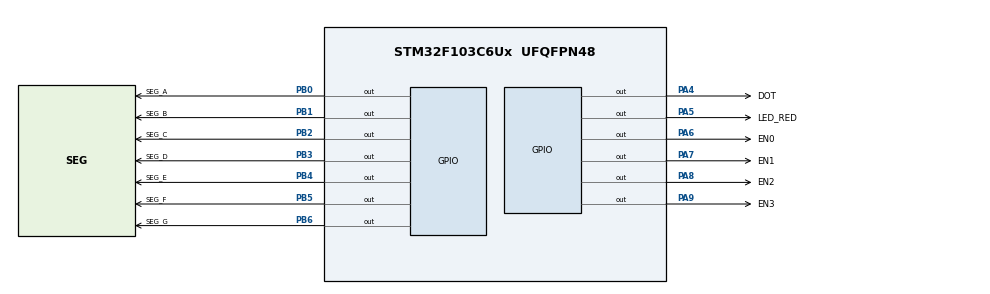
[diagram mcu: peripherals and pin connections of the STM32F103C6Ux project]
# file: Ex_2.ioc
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Mcu.Family=STM32F1
Mcu.Name=STM32F103C6Ux
Mcu.Package=UFQFPN48
NVIC.PriorityGroup=NVIC_PRIORITYGROUP_4
NVIC.TIM2_IRQn=true\:0\:0\:false\:false\:true\:true\:true
PA4.GPIO_Label=DOT
PA4.Signal=GPIO_Output
PA5.GPIO_Label=LED_RED
PA5.Signal=GPIO_Output
PA6.GPIO_Label=EN0
PA6.Signal=GPIO_Output
PA7.GPIO_Label=EN1
PA7.Signal=GPIO_Output
PA8.GPIO_Label=EN2
PA8.Signal=GPIO_Output
PA9.GPIO_Label=EN3
PA9.Signal=GPIO_Output
PB0.GPIO_Label=SEG_A
PB0.Signal=GPIO_Output
PB1.GPIO_Label=SEG_B
PB1.Signal=GPIO_Output
PB2.GPIO_Label=SEG_C
PB2.Signal=GPIO_Output
PB3.GPIO_Label=SEG_D
PB3.Signal=GPIO_Output
PB4.GPIO_Label=SEG_E
PB4.Signal=GPIO_Output
PB5.GPIO_Label=SEG_F
PB5.Signal=GPIO_Output
PB6.GPIO_Label=SEG_G
PB6.Signal=GPIO_Output
ProjectManager.HeapSize=0x200
ProjectManager.StackSize=0x400
ProjectManager.TargetToolchain=STM32CubeIDE
RCC.APB1Freq_Value=8000000
RCC.APB2Freq_Value=8000000
TIM2.Period=9
TIM2.Prescaler=7999
VP_SYS_VS_ND.Mode=No_Debug
VP_TIM2_VS_ClockSourceINT.Mode=Internal
board=custom

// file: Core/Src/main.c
/* USER CODE BEGIN Header */
/**
  ******************************************************************************
  * @file           : main.c
  * @brief          : Main program body
  ******************************************************************************
  * @attention
  *
  * <h2><center>&copy; Copyright (c) 2023 STMicroelectronics.
  * All rights reserved.</center></h2>
  *
  * This software component is licensed by ST under BSD 3-Clause license,
  * the "License"; You may not use this file except in compliance with the
  * License. You may obtain a copy of the License at:
  *                        opensource.org/licenses/BSD-3-Clause
  *
  ******************************************************************************
  */
/* USER CODE END Header */
#include "main.h"

/* USER CODE BEGIN PM */
#define BLINK_LED_TIME 100
#define SEVEN_SEGMENT_STATE_NUMBER 4
#define SEVEN_SEGMENT_STATE_TIME 50
#define BLINK_DOT_TIME 100
/* USER CODE END PM */

TIM_HandleTypeDef htim2;

/* USER CODE BEGIN PV */
int blink_led_counter = BLINK_LED_TIME;
int blink_led_flag = 0;
int seven_segment_state_counter = SEVEN_SEGMENT_STATE_TIME;
int seven_segment_state_flag = 0;
int blink_dot_counter = BLINK_DOT_TIME;
int blink_dot_flag = 0;
int led_buffer[SEVEN_SEGMENT_STATE_NUMBER] = {1, 2, 3, 0};
GPIO_PinState seven_segment_display[10][7] = {
  {GPIO_PIN_RESET, GPIO_PIN_RESET, GPIO_PIN_RESET, GPIO_PIN_RESET, GPIO_PIN_RESET, GPIO_PIN_RESET, GPIO_PIN_SET  },
  {GPIO_PIN_SET  , GPIO_PIN_RESET, GPIO_PIN_RESET, GPIO_PIN_SET  , GPIO_PIN_SET  , GPIO_PIN_SET  , GPIO_PIN_SET  },
  {GPIO_PIN_RESET, GPIO_PIN_RESET, GPIO_PIN_SET  , GPIO_PIN_RESET, GPIO_PIN_RESET, GPIO_PIN_SET  , GPIO_PIN_RESET},
  {GPIO_PIN_RESET, GPIO_PIN_RESET, GPIO_PIN_RESET, GPIO_PIN_RESET, GPIO_PIN_SET  , GPIO_PIN_SET  , GPIO_PIN_RESET},
  {GPIO_PIN_SET  , GPIO_PIN_RESET, GPIO_PIN_RESET, GPIO_PIN_SET  , GPIO_PIN_SET  , GPIO_PIN_RESET, GPIO_PIN_RESET},
  {GPIO_PIN_RESET, GPIO_PIN_SET  , GPIO_PIN_RESET, GPIO_PIN_RESET, GPIO_PIN_SET  , GPIO_PIN_RESET, GPIO_PIN_RESET},
  {GPIO_PIN_RESET, GPIO_PIN_SET  , GPIO_PIN_RESET, GPIO_PIN_RESET, GPIO_PIN_RESET, GPIO_PIN_RESET, GPIO_PIN_RESET},
  {GPIO_PIN_RESET, GPIO_PIN_RESET, GPIO_PIN_RESET, GPIO_PIN_SET  , GPIO_PIN_SET  , GPIO_PIN_SET  , GPIO_PIN_SET  },
  {GPIO_PIN_RESET, GPIO_PIN_RESET, GPIO_PIN_RESET, GPIO_PIN_RESET, GPIO_PIN_RESET, GPIO_PIN_RESET, GPIO_PIN_RESET},
  {GPIO_PIN_RESET, GPIO_PIN_RESET, GPIO_PIN_RESET, GPIO_PIN_RESET, GPIO_PIN_SET  , GPIO_PIN_RESET, GPIO_PIN_RESET},
};
GPIO_PinState seven_segment_enable[SEVEN_SEGMENT_STATE_NUMBER][SEVEN_SEGMENT_STATE_NUMBER] = {
  {GPIO_PIN_RESET, GPIO_PIN_SET  , GPIO_PIN_SET  , GPIO_PIN_SET  },
  {GPIO_PIN_SET  , GPIO_PIN_RESET, GPIO_PIN_SET  , GPIO_PIN_SET  },
  {GPIO_PIN_SET  , GPIO_PIN_SET  , GPIO_PIN_RESET, GPIO_PIN_SET  },
  {GPIO_PIN_SET  , GPIO_PIN_SET  , GPIO_PIN_SET  , GPIO_PIN_RESET}
};
int seven_segment_state = 0;
/* USER CODE END PV */

void SystemClock_Config(void);
static void MX_GPIO_Init(void);
static void MX_TIM2_Init(void);
/* USER CODE BEGIN PFP */
void display7SEG(int number);
void active7SEG(int index);
void update7SEG(int index);
/* USER CODE END PFP */

int main(void)
{

  /* MCU Configuration--------------------------------------------------------*/

  /* Reset of all peripherals, Initializes the Flash interface and the Systick. */
  HAL_Init();

  /* Configure the system clock */
  SystemClock_Config();

  /* Initialize all configured peripherals */
  MX_GPIO_Init();
  MX_TIM2_Init();
  /* USER CODE BEGIN 2 */
  HAL_TIM_Base_Start_IT(&htim2);
  HAL_GPIO_WritePin(LED_RED_GPIO_Port, LED_RED_Pin, GPIO_PIN_RESET);
  HAL_GPIO_WritePin(DOT_GPIO_Port, DOT_Pin, GPIO_PIN_RESET);
  /* USER CODE END 2 */
  /* Infinite loop */
  /* USER CODE BEGIN WHILE */
  while (1)
  {
    if(blink_led_flag == 1){
		blink_led_flag = 0;
		blink_led_counter = BLINK_LED_TIME;
	  HAL_GPIO_TogglePin(LED_RED_GPIO_Port, LED_RED_Pin);
	}
    if(seven_segment_state_flag == 1){
	  seven_segment_state_flag = 0;
	  seven_segment_state_counter = SEVEN_SEGMENT_STATE_TIME;
	  update7SEG(seven_segment_state++);
	  if(seven_segment_state >= SEVEN_SEGMENT_STATE_NUMBER){
	    seven_segment_state = 0;
	  }
    }
    if(blink_dot_flag == 1){
	  blink_dot_flag = 0;
	  blink_dot_counter = BLINK_DOT_TIME;
	  HAL_GPIO_TogglePin(DOT_GPIO_Port, DOT_Pin);
	}
    /* USER CODE END WHILE */

  }
}

void SystemClock_Config(void)
{
  RCC_OscInitTypeDef RCC_OscInitStruct = {0};
  RCC_ClkInitTypeDef RCC_ClkInitStruct = {0};

  /** Initializes the RCC Oscillators according to the specified parameters
  * in the RCC_OscInitTypeDef structure.
  */
  RCC_OscInitStruct.OscillatorType = RCC_OSCILLATORTYPE_HSI;
  RCC_OscInitStruct.HSIState = RCC_HSI_ON;
  RCC_OscInitStruct.HSICalibrationValue = RCC_HSICALIBRATION_DEFAULT;
  RCC_OscInitStruct.PLL.PLLState = RCC_PLL_NONE;
  if (HAL_RCC_OscConfig(&RCC_OscInitStruct) != HAL_OK)
  {
    Error_Handler();
  }
  /** Initializes the CPU, AHB and APB buses clocks
  */
  RCC_ClkInitStruct.ClockType = RCC_CLOCKTYPE_HCLK|RCC_CLOCKTYPE_SYSCLK
                              |RCC_CLOCKTYPE_PCLK1|RCC_CLOCKTYPE_PCLK2;
  RCC_ClkInitStruct.SYSCLKSource = RCC_SYSCLKSOURCE_HSI;
  RCC_ClkInitStruct.AHBCLKDivider = RCC_SYSCLK_DIV1;
  RCC_ClkInitStruct.APB1CLKDivider = RCC_HCLK_DIV1;
  RCC_ClkInitStruct.APB2CLKDivider = RCC_HCLK_DIV1;

  if (HAL_RCC_ClockConfig(&RCC_ClkInitStruct, FLASH_LATENCY_0) != HAL_OK)
  {
    Error_Handler();
  }
}

static void MX_TIM2_Init(void)
{

  TIM_ClockConfigTypeDef sClockSourceConfig = {0};
  TIM_MasterConfigTypeDef sMasterConfig = {0};

  htim2.Instance = TIM2;
  htim2.Init.Prescaler = 7999;
  htim2.Init.CounterMode = TIM_COUNTERMODE_UP;
  htim2.Init.Period = 9;
  htim2.Init.ClockDivision = TIM_CLOCKDIVISION_DIV1;
  htim2.Init.AutoReloadPreload = TIM_AUTORELOAD_PRELOAD_DISABLE;
  if (HAL_TIM_Base_Init(&htim2) != HAL_OK)
  {
    Error_Handler();
  }
  sClockSourceConfig.ClockSource = TIM_CLOCKSOURCE_INTERNAL;
  if (HAL_TIM_ConfigClockSource(&htim2, &sClockSourceConfig) != HAL_OK)
  {
    Error_Handler();
  }
  sMasterConfig.MasterOutputTrigger = TIM_TRGO_RESET;
  sMasterConfig.MasterSlaveMode = TIM_MASTERSLAVEMODE_DISABLE;
  if (HAL_TIMEx_MasterConfigSynchronization(&htim2, &sMasterConfig) != HAL_OK)
  {
    Error_Handler();
  }

}

static void MX_GPIO_Init(void)
{
  GPIO_InitTypeDef GPIO_InitStruct = {0};

  /* GPIO Ports Clock Enable */
  __HAL_RCC_GPIOA_CLK_ENABLE();
  __HAL_RCC_GPIOB_CLK_ENABLE();

  /*Configure GPIO pin Output Level */
  HAL_GPIO_WritePin(GPIOA, DOT_Pin|LED_RED_Pin|EN0_Pin|EN1_Pin
                          |EN2_Pin|EN3_Pin, GPIO_PIN_RESET);

  /*Configure GPIO pin Output Level */
  HAL_GPIO_WritePin(GPIOB, SEG_A_Pin|SEG_B_Pin|SEG_C_Pin|SEG_D_Pin
                          |SEG_E_Pin|SEG_F_Pin|SEG_G_Pin, GPIO_PIN_RESET);

  /*Configure GPIO pins : DOT_Pin LED_RED_Pin EN0_Pin EN1_Pin
                           EN2_Pin EN3_Pin */
  GPIO_InitStruct.Pin = DOT_Pin|LED_RED_Pin|EN0_Pin|EN1_Pin
                          |EN2_Pin|EN3_Pin;
  GPIO_InitStruct.Mode = GPIO_MODE_OUTPUT_PP;
  GPIO_InitStruct.Pull = GPIO_NOPULL;
  GPIO_InitStruct.Speed = GPIO_SPEED_FREQ_LOW;
  HAL_GPIO_Init(GPIOA, &GPIO_InitStruct);

  /*Configure GPIO pins : SEG_A_Pin SEG_B_Pin SEG_C_Pin SEG_D_Pin
                           SEG_E_Pin SEG_F_Pin SEG_G_Pin */
  GPIO_InitStruct.Pin = SEG_A_Pin|SEG_B_Pin|SEG_C_Pin|SEG_D_Pin
                          |SEG_E_Pin|SEG_F_Pin|SEG_G_Pin;
  GPIO_InitStruct.Mode = GPIO_MODE_OUTPUT_PP;
  GPIO_InitStruct.Pull = GPIO_NOPULL;
  GPIO_InitStruct.Speed = GPIO_SPEED_FREQ_LOW;
  HAL_GPIO_Init(GPIOB, &GPIO_InitStruct);

}

/* USER CODE BEGIN 4 */
void HAL_TIM_PeriodElapsedCallback(TIM_HandleTypeDef *htim ){
  --blink_led_counter;
  if(blink_led_counter <= 0){
	blink_led_flag = 1;
  }
  --seven_segment_state_counter;
  if(seven_segment_state_counter <= 0) {
	seven_segment_state_flag = 1;
  }
  --blink_dot_counter;
  if(blink_dot_counter <= 0){
  	blink_dot_flag = 1;
  }
}
void display7SEG(int number){
  if(number >= 0 && number <= 9){
	HAL_GPIO_WritePin(SEG_A_GPIO_Port, SEG_A_Pin, seven_segment_display[number][0]);
	HAL_GPIO_WritePin(SEG_B_GPIO_Port, SEG_B_Pin, seven_segment_display[number][1]);
	HAL_GPIO_WritePin(SEG_C_GPIO_Port, SEG_C_Pin, seven_segment_display[number][2]);
	HAL_GPIO_WritePin(SEG_D_GPIO_Port, SEG_D_Pin, seven_segment_display[number][3]);
	HAL_GPIO_WritePin(SEG_E_GPIO_Port, SEG_E_Pin, seven_segment_display[number][4]);
	HAL_GPIO_WritePin(SEG_F_GPIO_Port, SEG_F_Pin, seven_segment_display[number][5]);
	HAL_GPIO_WritePin(SEG_G_GPIO_Port, SEG_G_Pin, seven_segment_display[number][6]);
  }
}
void active7SEG(int index){
  if(index >=0 && index < SEVEN_SEGMENT_STATE_NUMBER){
	HAL_GPIO_WritePin(EN0_GPIO_Port, EN0_Pin, seven_segment_enable[index][0]);
	HAL_GPIO_WritePin(EN1_GPIO_Port, EN1_Pin, seven_segment_enable[index][1]);
	HAL_GPIO_WritePin(EN2_GPIO_Port, EN2_Pin, seven_segment_enable[index][2]);
	HAL_GPIO_WritePin(EN3_GPIO_Port, EN3_Pin, seven_segment_enable[index][3]);
  }
}
void update7SEG(int index) {
  if (index >= 0 && index < SEVEN_SEGMENT_STATE_NUMBER) {
	active7SEG(index);
	display7SEG(led_buffer[index]);
  }
}
/* USER CODE END 4 */

void Error_Handler(void)
{
  __disable_irq();
  while (1)
  {
  }
}

/************************ (C) COPYRIGHT STMicroelectronics *****END OF FILE****/
